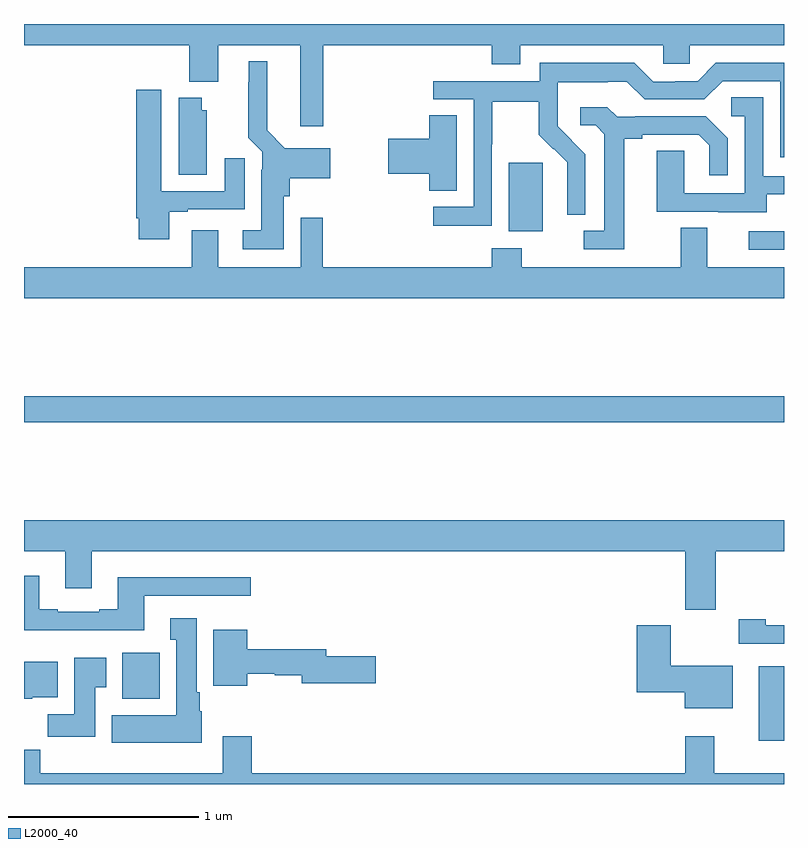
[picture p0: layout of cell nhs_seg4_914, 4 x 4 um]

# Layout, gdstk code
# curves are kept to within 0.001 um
import gdstk
lib = gdstk.Library(unit=1e-6, precision=1e-09)
def R(c, l, rs):  # rectangles x0, y0, x1, y1
    for r in rs: c.add(gdstk.rectangle(r[:2], r[2:], *l))
def P(c, l, *ps):  # polygons
    for p in ps: c.add(gdstk.Polygon(p, *l))
L2000_40 = (2000, 40)

nhs_seg4_914 = lib.new_cell('nhs_seg4_914')
R(nhs_seg4_914, L2000_40, [(160.868,825.128,161,825.52), (157.517,825.35,157.714,825.592), (157,826.804,161,826.94), (160.815,827.712,161,827.808), (159.551,827.81,159.73,828.171)])
P(nhs_seg4_914, L2000_40, [(158.576,828.788),(159.461,828.788),(159.461,828.689),(159.613,828.689),(159.613,828.788),(160.365,828.788),(160.365,828.69),(160.503,828.69),(160.503,828.788),(161,828.788),(161,828.9),(157,828.9),(157,828.788),(157.871,828.788),(157.871,828.596),(158.023,828.596),(158.023,828.788),(158.453,828.788),(158.453,828.363),(158.576,828.363)],
  [(158.368,827.994),(158.399,827.994),(158.399,828.089),(158.611,828.089),(158.611,828.247),(158.373,828.247),(158.281,828.34),(158.281,828.703),(158.183,828.703),(158.183,828.593),(158.179,828.593),(158.179,828.302),(158.253,828.228),(158.253,828.134),(158.249,828.134),(158.249,827.815),(158.151,827.815),(158.151,827.714),(158.368,827.714)],
  [(159.462,828.268),(159.465,828.268),(159.465,828.492),(159.709,828.492),(159.709,828.317),(159.786,828.24),(159.789,828.243),(159.86,828.173),(159.86,828.05),(159.858,828.05),(159.858,827.896),(159.954,827.896),(159.954,828.214),(159.808,828.362),(159.808,828.459),(159.81,828.459),(159.81,828.593),(160.073,828.593),(160.073,828.597),(160.173,828.597),(160.266,828.504),(160.581,828.504),(160.677,828.6),(160.98,828.6),(160.98,828.198),(161,828.198),(161,828.696),(160.641,828.696),(160.545,828.6),(160.427,828.6),(160.427,828.597),(160.311,828.597),(160.211,828.697),(159.714,828.697),(159.714,828.6),(159.153,828.6),(159.153,828.504),(159.366,828.504),(159.366,827.937),(159.153,827.937),(159.153,827.839),(159.462,827.839)],
  [(157.765,827.913),(157.861,827.913),(157.861,827.925),(158.161,827.925),(158.161,828.193),(158.057,828.193),(158.057,828.021),(157.723,828.021),(157.723,828.553),(157.592,828.553),(157.592,827.878),(157.604,827.878),(157.604,827.766),(157.765,827.766)],
  [(160.909,828.003),(161,828.003),(161,828.099),(160.89,828.099),(160.89,828.515),(160.722,828.515),(160.722,828.414),(160.794,828.414),(160.794,828.009),(160.476,828.009),(160.476,828.233),(160.331,828.233),(160.331,827.913),(160.655,827.913),(160.655,827.909),(160.909,827.909)],
  [(157.963,828.447),(157.936,828.447),(157.936,828.511),(157.814,828.511),(157.814,828.106),(157.963,828.106)],
  [(160.159,828.296),(160.255,828.296),(160.255,828.318),(160.55,828.318),(160.607,828.261),(160.607,828.105),(160.704,828.105),(160.704,828.298),(160.588,828.414),(160.216,828.414),(160.216,828.411),(160.122,828.411),(160.07,828.463),(159.927,828.463),(159.927,828.366),(160.008,828.366),(160.055,828.319),(160.055,827.811),(159.945,827.811),(159.945,827.715),(160.159,827.715)],
  [(159.277,828.419),(159.134,828.419),(159.134,828.296),(158.916,828.296),(158.916,828.113),(159.134,828.113),(159.134,828.022),(159.277,828.022)],
  [(161,827.62),(160.597,827.62),(160.597,827.828),(160.457,827.828),(160.457,827.62),(159.621,827.62),(159.621,827.719),(159.461,827.719),(159.461,827.62),(158.573,827.62),(158.573,827.881),(158.457,827.881),(158.457,827.62),(158.023,827.62),(158.023,827.815),(157.883,827.815),(157.883,827.62),(157,827.62),(157,827.456),(161,827.456)],
  [(160.641,826.124),(161,826.124),(161,826.288),(157,826.288),(157,826.124),(157.217,826.124),(157.217,825.93),(157.357,825.93),(157.357,826.124),(160.481,826.124),(160.481,825.816),(160.641,825.816)],
  [(157.633,825.891),(158.194,825.891),(158.194,825.988),(157.493,825.988),(157.493,825.82),(157.397,825.82),(157.397,825.807),(157.177,825.807),(157.177,825.82),(157.081,825.82),(157.081,825.997),(157,825.997),(157,825.71),(157.633,825.71)],
  [(157.936,825.282),(157.924,825.282),(157.924,825.382),(157.909,825.382),(157.909,825.772),(157.769,825.772),(157.769,825.659),(157.802,825.659),(157.802,825.262),(157.463,825.262),(157.463,825.116),(157.936,825.116)],
  [(161,825.735),(160.905,825.735),(160.905,825.768),(160.761,825.768),(160.761,825.639),(161,825.639)],
  [(160.729,825.523),(160.404,825.523),(160.404,825.736),(160.226,825.736),(160.226,825.383),(160.478,825.383),(160.478,825.299),(160.729,825.299)],
  [(158.176,825.48),(158.319,825.48),(158.319,825.472),(158.462,825.472),(158.462,825.43),(158.851,825.43),(158.851,825.572),(158.59,825.572),(158.59,825.608),(158.176,825.608),(158.176,825.712),(157.997,825.712),(157.997,825.416),(158.176,825.416)],
  [(157.375,825.409),(157.432,825.409),(157.432,825.565),(157.265,825.565),(157.265,825.268),(157.126,825.268),(157.126,825.15),(157.375,825.15)],
  [(157.044,825.356),(157.177,825.356),(157.177,825.544),(157,825.544),(157,825.35),(157.044,825.35)],
  [(161,824.956),(160.633,824.956),(160.633,825.151),(160.481,825.151),(160.481,824.956),(158.198,824.956),(158.198,825.151),(158.045,825.151),(158.045,824.956),(157.085,824.956),(157.085,825.08),(157,825.08),(157,824.9),(161,824.9)])

lib.write_gds('nhs_seg4_914.gds')
